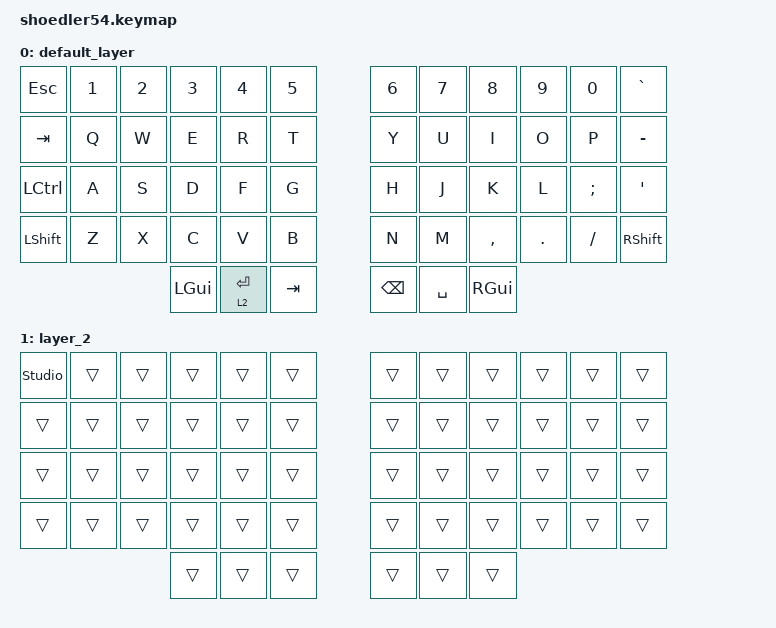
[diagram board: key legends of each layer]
#include <behaviors.dtsi>
#include <dt-bindings/zmk/keys.h>

/ {
  keymap {
    compatible = "zmk,keymap";

    default_layer {
      bindings = <
&kp ESC   &kp N1 &kp N2 &kp N3   &kp N4   &kp N5                     &kp N6 &kp N7   &kp N8    &kp N9  &kp N0   &kp GRAVE
&kp TAB   &kp Q  &kp W  &kp E    &kp R    &kp T                      &kp Y  &kp U    &kp I     &kp O   &kp P    &kp MINUS
&kp LCTRL &kp A  &kp S  &kp D    &kp F    &kp G                      &kp H  &kp J    &kp K     &kp L   &kp SEMI &kp SQT
&kp LSHFT &kp Z  &kp X  &kp C    &kp V    &kp B                      &kp N  &kp M    &kp COMMA &kp DOT &kp FSLH &kp RSHFT
                        &kp LGUI &lt 2 RET &kp TAB                    &kp BSPC &kp SPACE &kp RGUI
      >;
    };

    layer_2 {
      bindings = <
&studio_unlock &trans &trans &trans &trans &trans                    &trans &trans &trans &trans &trans &trans
&trans         &trans &trans &trans &trans &trans                    &trans &trans &trans &trans &trans &trans
&trans         &trans &trans &trans &trans &trans                    &trans &trans &trans &trans &trans &trans
&trans         &trans &trans &trans &trans &trans                    &trans &trans &trans &trans &trans &trans
                          &trans &trans &trans                       &trans &trans &trans
      >;
    };
  };
};
